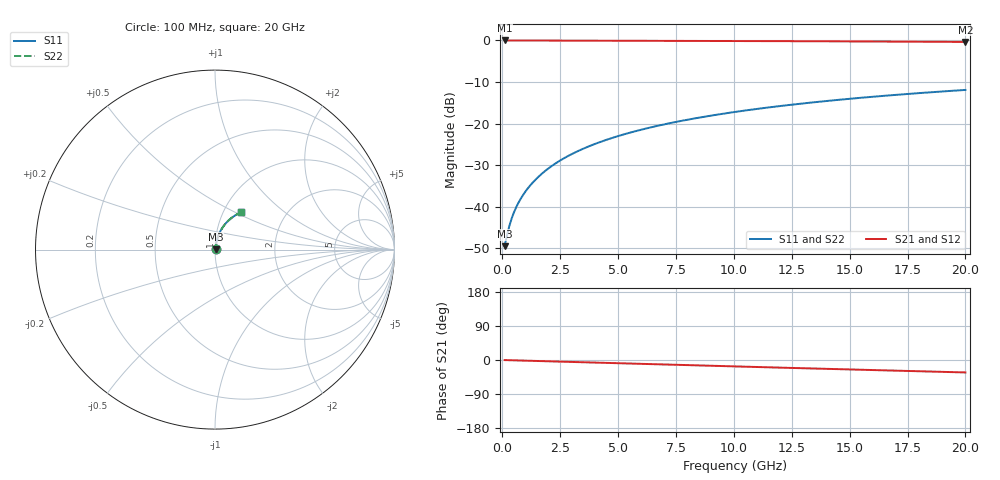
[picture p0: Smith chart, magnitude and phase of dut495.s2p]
! Touchstone file exported from HFSS 2026.1.0
!  File:  C:/ffzhzh/LocalFiles/Ansys_Project_Files/temp_train_BSMRDL_495_1783014088_53980.aedt
!  Generated:  01:42:51 AM Jul  3, 2026
!  Design:  BSMRDL
!  Project:  temp_train_BSMRDL_495_1783014088_53980
! Variables:
!  h_bsmrdl = 2.66um
!  h_ox = 20um
!  h_rdl = 5um
!  h_sub = 80um
!  h_tmrdl = 5um
!  h_tsv = 80um
!  h_via = 3um
!  l_bsmrdl = 494.59um
!  l_sub = 894.59um
!  l_tmrdl = 200um
!  m_sub = 200um
!  pitch = 42.67um
!  r_tsv = 6um
!  s_tmrdl = 10um
!  w_bsmrdl = 25.35um
!  w_sub = 500um
!  w_tmrdl = 12um
!  x_tsv_center1 = 206um
!  x_tsv_center2 = 725.94um
!  x_tsv_center3 = 937.94um
!  x_tsv_center4 = 1457.88um
!  x_tsv_center5 = 1669.88um
!  x_tsv_center6 = 2189.82um
# GHz S MA R 50.000000
! Terminal data exported
! Port[1] = BSM_RDL1_1_T1
! Port[2] = BSM_RDL1_1_T2
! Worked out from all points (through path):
!   200 points, 100 MHz to 20 GHz, reference 50 ohm
!   highest |S21| = -0.03 dB at 100 MHz (marker M1); lowest = -0.4 dB at 20 GHz (marker M2)
!   group delay of S21, straight-line fit = 4.57 ps
!   lowest |S11| = -49.5 dB at 100 MHz (marker M3), VSWR 1.01, Z = 50.3 + j0.168 ohm
!   |S11| at or under -10 dB: start of sweep to end of sweep
!   |S22| runs from -49.5 to -11.9 dB; largest |S21 - S12| = 4.2e-15
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0.1  0.003354 29.8  0.9971 -0.2  0.9971 -0.2  0.003354 29.8
! Gamma 0 0 0 0
! Port Impedance 50 0 50 0
0.2  0.004484 46.9  0.997 -0.4  0.997 -0.4  0.004484 46.9
0.3  0.005806 55.9  0.9968 -0.5  0.9968 -0.5  0.005806 55.9
0.4  0.007159 61.2  0.9966 -0.7  0.9966 -0.7  0.007159 61.2
0.5  0.008507 64.7  0.9965 -0.9  0.9965 -0.9  0.008507 64.7
0.6  0.009848 67.3  0.9963 -1.1  0.9963 -1.1  0.009848 67.3
0.8  0.01253 70.9  0.9961 -1.4  0.9961 -1.4  0.01253 70.9
1.1  0.01658 74.3  0.9959 -1.9  0.9959 -1.9  0.01658 74.3
1.3  0.01931 75.7  0.9958 -2.2  0.9958 -2.2  0.01931 75.7
1.6  0.02344 77.1  0.9956 -2.8  0.9956 -2.8  0.02344 77.1
2.1  0.03038 78.4  0.9953 -3.6  0.9953 -3.6  0.03038 78.4
2.7  0.03874 78.9  0.9949 -4.6  0.9949 -4.6  0.03874 78.9
3.5  0.04989 78.8  0.9942 -6.0  0.9942 -6.0  0.04989 78.8
4.2  0.0596 78.3  0.9935 -7.2  0.9935 -7.2  0.0596 78.2
5  0.07065 77.4  0.9925 -8.5  0.9925 -8.5  0.07065 77.4
5.9  0.08296 76.3  0.9912 -10.0  0.9912 -10.0  0.08296 76.3
6.8  0.09514 75.1  0.9898 -11.5  0.9898 -11.5  0.09514 75.0
8.3  0.1151 72.9  0.9871 -14.1  0.9871 -14.1  0.1151 72.8
10.1  0.1385 70.1  0.9834 -17.0  0.9834 -17.0  0.1385 70.1
13.4  0.1794 65.0  0.9756 -22.4  0.9756 -22.4  0.1794 65.0
16.7  0.2178 59.9  0.9668 -27.7  0.9668 -27.7  0.2178 59.9
20  0.2534 54.9  0.9574 -32.9  0.9574 -32.9  0.2534 54.9
